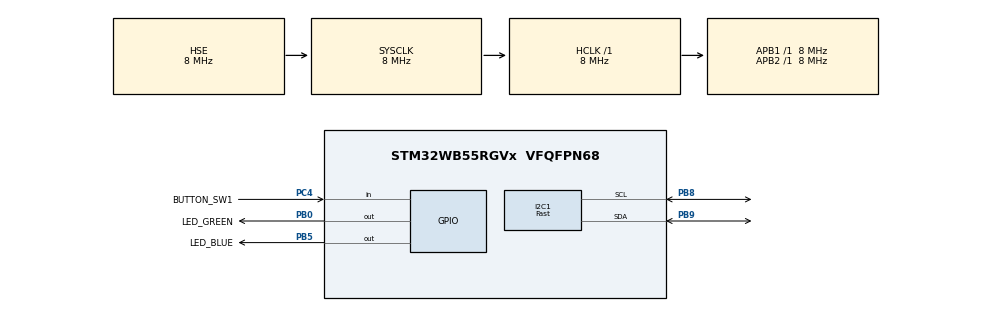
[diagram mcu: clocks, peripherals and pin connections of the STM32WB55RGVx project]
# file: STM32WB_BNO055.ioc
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I2C1.I2C_Speed_Mode=I2C_Fast
I2C1.Timing=0x0000020B
Mcu.Family=STM32WB
Mcu.Name=STM32WB55RGVx
Mcu.Package=VFQFPN68
NVIC.PriorityGroup=NVIC_PRIORITYGROUP_4
OSC_IN.Mode=HSE-External-Oscillator
OSC_IN.Signal=RCC_OSC_IN
OSC_OUT.Mode=HSE-External-Oscillator
OSC_OUT.Signal=RCC_OSC_OUT
PA13.Mode=Serial_Wire
PA13.Signal=SYS_JTMS-SWDIO
PA14.Mode=Serial_Wire
PA14.Signal=SYS_JTCK-SWCLK
PB0.GPIO_Label=LED_GREEN
PB0.Signal=GPIO_Output
PB5.GPIO_Label=LED_BLUE
PB5.Signal=GPIO_Output
PB8.Mode=I2C
PB8.Signal=I2C1_SCL
PB9.Mode=I2C
PB9.Signal=I2C1_SDA
PC14-OSC32_IN.Mode=LSE-External-Oscillator
PC14-OSC32_IN.Signal=RCC_OSC32_IN
PC15-OSC32_OUT.Mode=LSE-External-Oscillator
PC15-OSC32_OUT.Signal=RCC_OSC32_OUT
PC4.GPIO_Label=BUTTON_SW1
PC4.Signal=GPIO_Input
ProjectManager.HeapSize=0x200
ProjectManager.StackSize=0x400
ProjectManager.TargetToolchain=STM32CubeIDE
RCC.ADCFreq_Value=16000000
RCC.AHBFreq_Value=8000000
RCC.APB1Freq_Value=8000000
RCC.APB1TimFreq_Value=8000000
RCC.APB2Freq_Value=8000000
RCC.APB2TimFreq_Value=8000000
RCC.APB3Freq_Value=4000000
RCC.CortexFreq_Value=8000000
RCC.HCLKFreq_Value=8000000
RCC.HSE_VALUE=8000000
RCC.HSI48_VALUE=48000000
RCC.HSI_VALUE=16000000
RCC.SYSCLKFreq_VALUE=8000000
RCC.SYSCLKSource=RCC_SYSCLKSOURCE_HSE
RCC.USBFreq_Value=16000000
RCC.VCOOutputFreq_Value=32000000
board=custom

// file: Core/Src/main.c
/* USER CODE BEGIN Header */
/**
  ******************************************************************************
  * @file           : main.c
  * @brief          : Main program body
  ******************************************************************************
  * @attention
  *
  * <h2><center>&copy; Copyright (c) 2021 STMicroelectronics.
  * All rights reserved.</center></h2>
  *
  * This software component is licensed by ST under BSD 3-Clause license,
  * the "License"; You may not use this file except in compliance with the
  * License. You may obtain a copy of the License at:
  *                        opensource.org/licenses/BSD-3-Clause
  *
  ******************************************************************************
  */
/* USER CODE END Header */
#include "main.h"

I2C_HandleTypeDef hi2c1;

void SystemClock_Config(void);
static void MX_GPIO_Init(void);
static void MX_I2C1_Init(void);

int main(void)
{

  /* MCU Configuration--------------------------------------------------------*/

  /* Reset of all peripherals, Initializes the Flash interface and the Systick. */
  HAL_Init();

  /* Configure the system clock */
  SystemClock_Config();

  /* Initialize all configured peripherals */
  MX_GPIO_Init();
  MX_I2C1_Init();
  /* USER CODE BEGIN 2 */
  bno055_assignI2C(&hi2c1);
  bno055_setup();
  bno055_setOperationModeNDOF();

  /* USER CODE END 2 */

  /* Infinite loop */
  /* USER CODE BEGIN WHILE */
  int x = 0;
  while (1)
  {
	    bno055_vector_t v = bno055_getVectorEuler();
	    v=v;
	    //printf("Heading: %.2f Roll: %.2f Pitch: %.2f\r\n", v.x, v.y, v.z);
	    v = bno055_getVectorQuaternion();
	    //printf("W: %.2f X: %.2f Y: %.2f Z: %.2f\r\n", v.w, v.x, v.y, v.z);
	    printf("Bubu\n");
	   /* USER CODE END WHILE */

    /* USER CODE BEGIN 3 */

	if (x < 10){
		HAL_GPIO_TogglePin(GPIOB, GPIO_PIN_5);
		HAL_Delay(200);

	}
	else{
		HAL_GPIO_TogglePin(GPIOB, GPIO_PIN_5);
		HAL_Delay(500);
	}
	if (x == 50){
		x = 0;
	}
	x++;

  }
  /* USER CODE END 3 */
}

void SystemClock_Config(void)
{
  RCC_OscInitTypeDef RCC_OscInitStruct = {0};
  RCC_ClkInitTypeDef RCC_ClkInitStruct = {0};
  RCC_PeriphCLKInitTypeDef PeriphClkInitStruct = {0};

  /** Configure the main internal regulator output voltage
  */
  __HAL_PWR_VOLTAGESCALING_CONFIG(PWR_REGULATOR_VOLTAGE_SCALE1);
  /** Initializes the RCC Oscillators according to the specified parameters
  * in the RCC_OscInitTypeDef structure.
  */
  RCC_OscInitStruct.OscillatorType = RCC_OSCILLATORTYPE_HSI|RCC_OSCILLATORTYPE_HSE;
  RCC_OscInitStruct.HSEState = RCC_HSE_ON;
  RCC_OscInitStruct.HSIState = RCC_HSI_ON;
  RCC_OscInitStruct.HSICalibrationValue = RCC_HSICALIBRATION_DEFAULT;
  RCC_OscInitStruct.PLL.PLLState = RCC_PLL_NONE;
  if (HAL_RCC_OscConfig(&RCC_OscInitStruct) != HAL_OK)
  {
    Error_Handler();
  }
  /** Configure the SYSCLKSource, HCLK, PCLK1 and PCLK2 clocks dividers
  */
  RCC_ClkInitStruct.ClockType = RCC_CLOCKTYPE_HCLK4|RCC_CLOCKTYPE_HCLK2
                              |RCC_CLOCKTYPE_HCLK|RCC_CLOCKTYPE_SYSCLK
                              |RCC_CLOCKTYPE_PCLK1|RCC_CLOCKTYPE_PCLK2;
  RCC_ClkInitStruct.SYSCLKSource = RCC_SYSCLKSOURCE_HSE;
  RCC_ClkInitStruct.AHBCLKDivider = RCC_SYSCLK_DIV1;
  RCC_ClkInitStruct.APB1CLKDivider = RCC_HCLK_DIV1;
  RCC_ClkInitStruct.APB2CLKDivider = RCC_HCLK_DIV1;
  RCC_ClkInitStruct.AHBCLK2Divider = RCC_SYSCLK_DIV1;
  RCC_ClkInitStruct.AHBCLK4Divider = RCC_SYSCLK_DIV1;

  if (HAL_RCC_ClockConfig(&RCC_ClkInitStruct, FLASH_LATENCY_0) != HAL_OK)
  {
    Error_Handler();
  }
  /** Initializes the peripherals clocks
  */
  PeriphClkInitStruct.PeriphClockSelection = RCC_PERIPHCLK_SMPS|RCC_PERIPHCLK_I2C1;
  PeriphClkInitStruct.I2c1ClockSelection = RCC_I2C1CLKSOURCE_PCLK1;
  PeriphClkInitStruct.SmpsClockSelection = RCC_SMPSCLKSOURCE_HSI;
  PeriphClkInitStruct.SmpsDivSelection = RCC_SMPSCLKDIV_RANGE1;
  if (HAL_RCCEx_PeriphCLKConfig(&PeriphClkInitStruct) != HAL_OK)
  {
    Error_Handler();
  }
}

static void MX_I2C1_Init(void)
{

  hi2c1.Instance = I2C1;
  hi2c1.Init.Timing = 0x0000020B;
  hi2c1.Init.OwnAddress1 = 0;
  hi2c1.Init.AddressingMode = I2C_ADDRESSINGMODE_7BIT;
  hi2c1.Init.DualAddressMode = I2C_DUALADDRESS_DISABLE;
  hi2c1.Init.OwnAddress2 = 0;
  hi2c1.Init.OwnAddress2Masks = I2C_OA2_NOMASK;
  hi2c1.Init.GeneralCallMode = I2C_GENERALCALL_DISABLE;
  hi2c1.Init.NoStretchMode = I2C_NOSTRETCH_DISABLE;
  if (HAL_I2C_Init(&hi2c1) != HAL_OK)
  {
    Error_Handler();
  }
  /** Configure Analogue filter
  */
  if (HAL_I2CEx_ConfigAnalogFilter(&hi2c1, I2C_ANALOGFILTER_ENABLE) != HAL_OK)
  {
    Error_Handler();
  }
  /** Configure Digital filter
  */
  if (HAL_I2CEx_ConfigDigitalFilter(&hi2c1, 0) != HAL_OK)
  {
    Error_Handler();
  }

}

static void MX_GPIO_Init(void)
{
  GPIO_InitTypeDef GPIO_InitStruct = {0};

  /* GPIO Ports Clock Enable */
  __HAL_RCC_GPIOC_CLK_ENABLE();
  __HAL_RCC_GPIOB_CLK_ENABLE();
  __HAL_RCC_GPIOA_CLK_ENABLE();

  /*Configure GPIO pin Output Level */
  HAL_GPIO_WritePin(GPIOB, LED_GREEN_Pin|LED_BLUE_Pin, GPIO_PIN_RESET);

  /*Configure GPIO pin : BUTTON_SW1_Pin */
  GPIO_InitStruct.Pin = BUTTON_SW1_Pin;
  GPIO_InitStruct.Mode = GPIO_MODE_INPUT;
  GPIO_InitStruct.Pull = GPIO_NOPULL;
  HAL_GPIO_Init(BUTTON_SW1_GPIO_Port, &GPIO_InitStruct);

  /*Configure GPIO pins : LED_GREEN_Pin LED_BLUE_Pin */
  GPIO_InitStruct.Pin = LED_GREEN_Pin|LED_BLUE_Pin;
  GPIO_InitStruct.Mode = GPIO_MODE_OUTPUT_PP;
  GPIO_InitStruct.Pull = GPIO_NOPULL;
  GPIO_InitStruct.Speed = GPIO_SPEED_FREQ_LOW;
  HAL_GPIO_Init(GPIOB, &GPIO_InitStruct);

}

/* USER CODE BEGIN 4 */
// Overwrite of __io_putchar
int __io_putchar(int ch) {
    ITM_SendChar(ch);
    return ch;
}

/* USER CODE END 4 */

void Error_Handler(void)
{
  __disable_irq();
  while (1)
  {
  }
}

/************************ (C) COPYRIGHT STMicroelectronics *****END OF FILE****/
